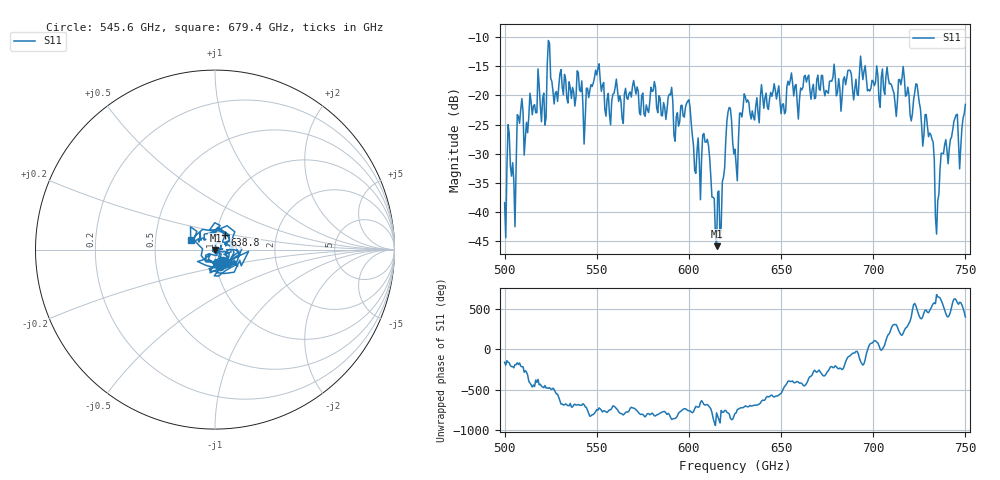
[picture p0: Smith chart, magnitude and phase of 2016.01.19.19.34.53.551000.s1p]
!Created with skrf (http://scikit-rf.org).
# GHz S RI R 50.0
!freq ReS11 ImS11
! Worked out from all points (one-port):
!   401 points, 500 GHz to 750 GHz, reference 50 ohm
!   lowest |S11| = -46.0 dB at 615 GHz (marker M1), VSWR 1.01, Z = 50.2 - j0.457 ohm
!   |S11| at or under -10 dB: start of sweep to end of sweep
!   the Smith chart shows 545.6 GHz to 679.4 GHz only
!   S11 on the Smith chart (normalised r, x): 545.6 GHz: 1.04, -0.19; 638.8 GHz: 1.10, +0.18; 679.4 GHz: 0.76, +0.08
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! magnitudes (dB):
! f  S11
! 500 GHz  -38.5
! 502.5 GHz  -26.5
! 505 GHz  -34.7
! 508.1 GHz  -24.8
! 521.2 GHz  -19.6
! 524.4 GHz  -11.0
! 531.2 GHz  -18.5
! 545.6 GHz  -20.4
! 562.5 GHz  -20.0
! 580.6 GHz  -19.2
! 593.8 GHz  -23.0
! 599.4 GHz  -21.0
! 605 GHz  -27.3
! 609.4 GHz  -28.0
! 615 GHz  -46.0
! 618.1 GHz  -34.9
! 621.9 GHz  -22.1
! 625 GHz  -29.3
! 630.6 GHz  -20.2
! 638.8 GHz  -20.2
! 656.2 GHz  -17.9
! 679.4 GHz  -16.7
! 687.5 GHz  -15.7
! 718.8 GHz  -18.6
! 730 GHz  -27.1
! 735 GHz  -38.1
! 738.1 GHz  -30.0
! 750 GHz  -21.5
